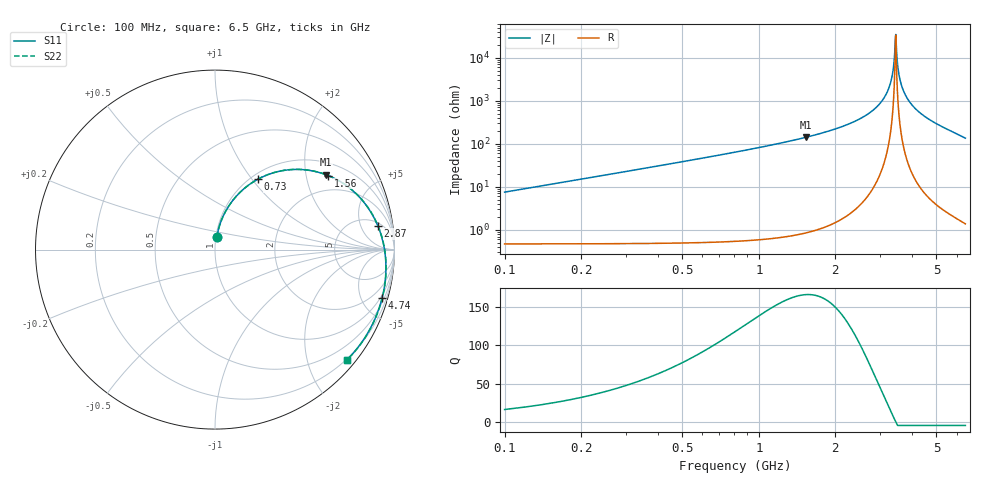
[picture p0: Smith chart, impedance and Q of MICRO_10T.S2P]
! Coilcraft 1606-10 Micro Spring Air Core Inductor
! 16 May 2003
# MHZ S MA R 50
!Freq  MagS11  AngS11  MagS21  AngS21  MagS12  AngS12  MagS22  AngS22
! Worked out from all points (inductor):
!   641 points, 100 MHz to 6.5 GHz, reference 50 ohm
!   read as 1/Y11, port 2 shorted: L = 11.9 nH near 130 MHz
!   highest Q = 167 at 1.53 GHz (marker M1), where L = 14.7 nH
!   self-resonance near 3.45 GHz
!   S11 on the Smith chart (normalised r, x): 100 MHz: 1.01, +0.14; 730 MHz: 1.08, +1.08; 1.56 GHz: 1.41, +2.69; 2.87 GHz: 6, +10; 4.74 GHz: 0.80, -7.02; 6.5 GHz: 0.19, -2.74
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100  0.07045 81.7  0.9929 -4.5  0.9929 -4.5  0.07053 81.7
170  0.1191 80.1  0.9882 -7.6  0.9882 -7.6  0.1192 80.1
210  0.1466 78.8  0.9846 -9.4  0.9846 -9.4  0.1467 78.8
270  0.1872 76.5  0.9777 -12.1  0.9777 -12.1  0.1874 76.5
330  0.2269 74.2  0.9693 -14.7  0.9693 -14.7  0.2272 74.2
410  0.2784 70.9  0.9559 -18.1  0.9559 -18.1  0.2787 70.9
510  0.3396 67.0  0.9361 -22.3  0.9361 -22.3  0.34 67.0
730  0.4609 58.5  0.8831 -31.0  0.8831 -31.0  0.4614 58.5
940  0.5583 51.1  0.8254 -38.5  0.8254 -38.5  0.559 51.1
1170  0.6454 43.8  0.7598 -45.9  0.7598 -45.9  0.6461 43.8
1530  0.747 33.9  0.6608 -55.8  0.6608 -55.8  0.7478 33.9
1560  0.7539 33.2  0.653 -56.6  0.653 -56.6  0.7547 33.2
1890  0.817 25.6  0.5725 -64.2  0.5725 -64.2  0.8179 25.6
2240  0.8642 18.7  0.4986 -71.1  0.4986 -71.1  0.8652 18.7
2870  0.9171 8.2  0.3928 -81.5  0.3928 -81.5  0.9181 8.2
3300  0.9386 2.1  0.3374 -87.6  0.3374 -87.6  0.9396 2.1
3810  0.955 -4.6  0.2865 -94.2  0.2865 -94.2  0.956 -4.6
4370  0.9654 -11.5  0.2468 -100.9  0.2468 -100.9  0.9664 -11.5
4740  0.9692 -16.0  0.2294 -105.3  0.2294 -105.3  0.9702 -16.0
5440  0.9711 -24.7  0.217 -113.7  0.217 -113.7  0.972 -24.7
5960  0.9676 -31.7  0.228 -120.6  0.228 -120.6  0.9686 -31.7
6500  0.9575 -39.9  0.2636 -128.9  0.2636 -128.9  0.9584 -39.9
